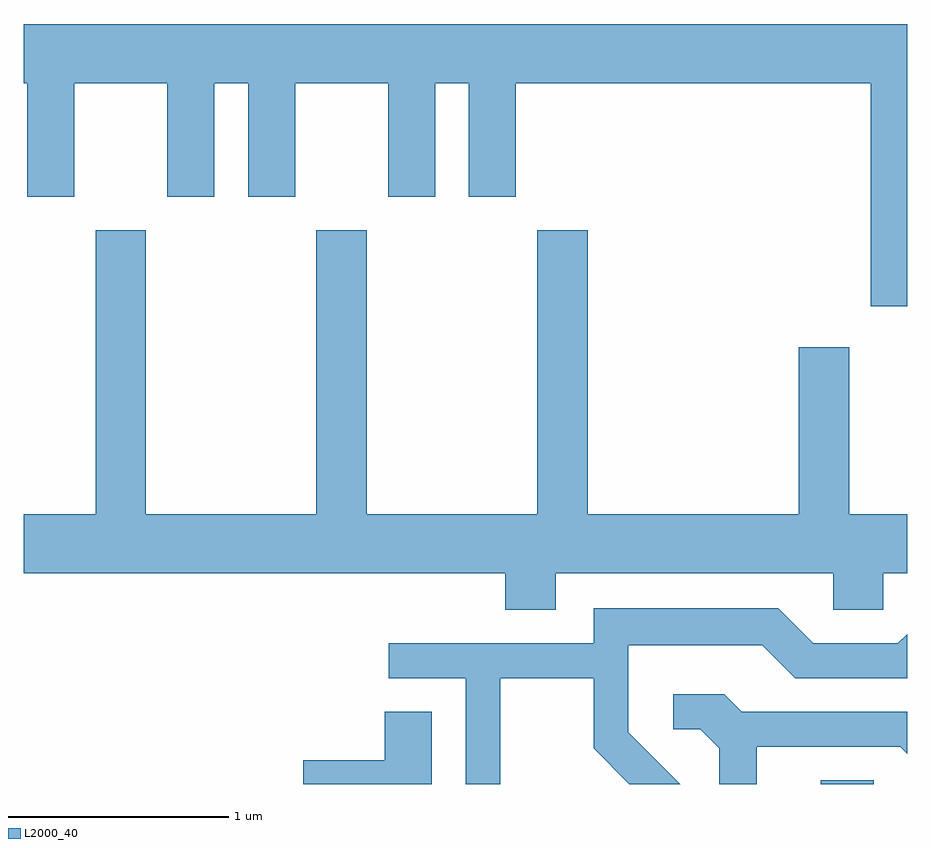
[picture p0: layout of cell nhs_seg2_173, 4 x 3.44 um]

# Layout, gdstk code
import gdstk
lib = gdstk.Library(unit=1e-6, precision=1e-09)
def R(c, l, rs):  # rectangles x0, y0, x1, y1
    for r in rs: c.add(gdstk.rectangle(r[:2], r[2:], *l))
def P(c, l, *ps):  # polygons
    for p in ps: c.add(gdstk.Polygon(p, *l))
L2000_40 = (2000, 40)

nhs_seg2_173 = lib.new_cell('nhs_seg2_173')
R(nhs_seg2_173, L2000_40, [(193.221,1051.802,193.459,1051.819)])
P(nhs_seg2_173, L2000_40, [(193.611,1055.244),(189.611,1055.244),(189.611,1054.976),(189.626,1054.976),(189.626,1054.461),(189.839,1054.461),(189.839,1054.976),(190.261,1054.976),(190.261,1054.461),(190.474,1054.461),(190.474,1054.976),(190.626,1054.976),(190.626,1054.461),(190.839,1054.461),(190.839,1054.976),(191.261,1054.976),(191.261,1054.461),(191.474,1054.461),(191.474,1054.976),(191.626,1054.976),(191.626,1054.461),(191.839,1054.461),(191.839,1054.976),(193.446,1054.976),(193.446,1053.966),(193.611,1053.966)],
  [(192.019,1052.756),(193.276,1052.756),(193.276,1052.591),(193.504,1052.591),(193.504,1052.756),(193.611,1052.756),(193.611,1053.024),(193.349,1053.024),(193.349,1053.779),(193.121,1053.779),(193.121,1053.024),(192.164,1053.024),(192.164,1054.309),(191.936,1054.309),(191.936,1053.024),(191.164,1053.024),(191.164,1054.309),(190.936,1054.309),(190.936,1053.024),(190.164,1053.024),(190.164,1054.309),(189.936,1054.309),(189.936,1053.024),(189.611,1053.024),(189.611,1052.756),(191.791,1052.756),(191.791,1052.591),(192.019,1052.591)],
  [(191.769,1052.281),(192.191,1052.281),(192.191,1051.964),(192.353,1051.802),(192.584,1051.802),(192.349,1052.037),(192.349,1052.431),(192.954,1052.431),(193.104,1052.281),(193.611,1052.281),(193.611,1052.481),(193.569,1052.439),(193.187,1052.439),(193.027,1052.599),(192.191,1052.599),(192.191,1052.439),(191.263,1052.439),(191.263,1052.281),(191.611,1052.281),(191.611,1051.802),(191.769,1051.802)],
  [(192.929,1051.971),(193.579,1051.971),(193.611,1051.939),(193.611,1052.129),(192.862,1052.129),(192.782,1052.209),(192.553,1052.209),(192.553,1052.051),(192.674,1052.051),(192.761,1051.964),(192.761,1051.802),(192.929,1051.802)],
  [(191.459,1052.129),(191.246,1052.129),(191.246,1051.909),(190.876,1051.909),(190.876,1051.802),(191.459,1051.802)])

lib.write_gds('nhs_seg2_173.gds')
